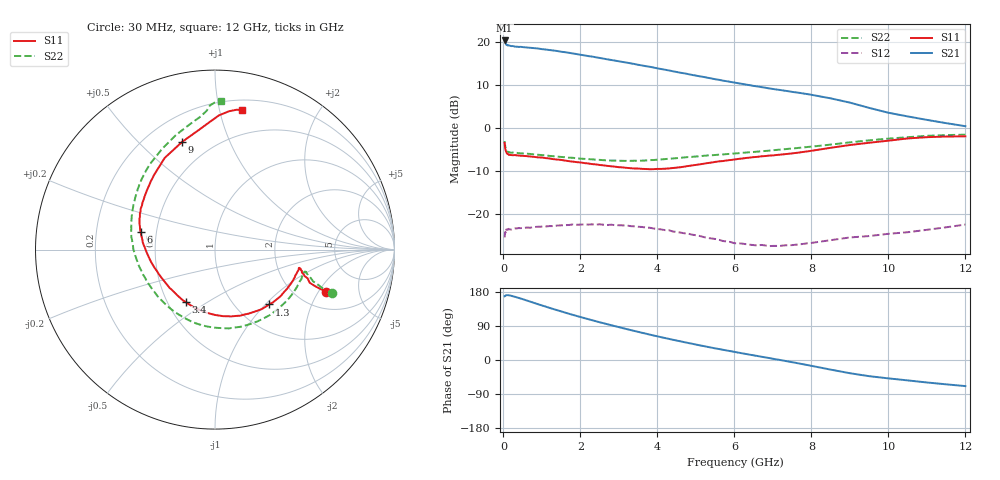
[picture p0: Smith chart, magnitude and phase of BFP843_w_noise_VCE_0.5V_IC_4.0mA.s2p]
! Infineon Technologies  Discrete & RF Semiconductors
! BFP843
! VCE =  0.5 V,  IC =  4.0 mA
! Common Emitter S-Parameters:  Aug 2013
# GHz  S  MA  R  50
!  f  S11  S21  S12  S22
! GHz  MAG  ANG  MAG  ANG  MAG  ANG  MAG  ANG
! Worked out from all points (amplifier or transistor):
!   103 points, 30 MHz to 12 GHz, reference 50 ohm
!   highest |S21| = 20.3 dB at 30 MHz (marker M1)
!   |S21| within 3 dB of that: start of sweep to 1.786 GHz
!   unconditionally stable (mu >= 1): 167.5 MHz to 480 MHz; 3.115 GHz to 12 GHz
!   at 400 MHz: K = 1.00, MAG = 20.7 dB, |S12| = -23.4 dB
!   at 3.7 GHz: K = 1.10, MAG = 16.9 dB, |S12| = -23.2 dB
!   at 12 GHz: K = 1.00, MSG = 11.4 dB, |S12| = -22.5 dB
!   lowest NFmin = 0.97 dB at 450 MHz
!   S11 on the Smith chart (normalised r, x): 30 MHz: 2.80, -2.36; 1.3 GHz: 1.41, -1.05; 3.4 GHz: 0.62, -0.41; 6 GHz: 0.41, +0.10; 9 GHz: 0.34, +0.68; 12 GHz: 0.28, +1.17
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0.03  0.6631 -20.8  10.33 168.1  0.0528 34.9  0.6975 -20.2
0.04  0.6011 -20.2  9.882 168.5  0.0587 28.3  0.6343 -19.7
0.05  0.5592 -19.3  9.622 170.2  0.0614 23.3  0.5971 -18.5
0.07  0.5207 -16.5  9.248 170.8  0.0651 18.1  0.5576 -16.6
0.13  0.49 -12.7  9.046 171.2  0.0664 8.9  0.52 -13.8
0.45  0.4702 -17.7  8.709 162.1  0.0677 3.0  0.5029 -22.8
0.7  0.4614 -25.5  8.483 153.9  0.0686 1.3  0.4938 -32.9
0.9  0.4509 -32.0  8.325 147.2  0.0704 0.3  0.4838 -41.7
1.3  0.4296 -45.3  7.891 134.3  0.0715 -2.7  0.4649 -59.1
1.7  0.4075 -59.0  7.426 122.1  0.0737 -5.5  0.4476 -76.0
2.1  0.3871 -72.8  6.933 110.6  0.0749 -9.5  0.433 -92.5
2.7  0.3591 -93.6  6.231 94.4  0.0737 -15.4  0.4158 -115.7
3.4  0.3349 -118.9  5.501 76.7  0.0711 -21.9  0.412 -141.4
4.1  0.3311 -143.8  4.803 60.1  0.0654 -27.9  0.4263 -163.6
5  0.3685 -172.2  4.032 40.8  0.056 -32.1  0.4617 175.4
6  0.4261 166.5  3.345 21.4  0.0452 -29.9  0.5003 158.0
6.1  0.4325 164.9  3.282 19.5  0.0451 -29.3  0.5039 156.2
7.3  0.4911 143.1  2.692 -2.1  0.0427 -17.2  0.561 137.6
8.5  0.5828 118.7  2.191 -25.4  0.0491 -9.6  0.6348 117.5
9  0.6278 106.9  1.955 -34.9  0.0528 -9.9  0.6746 108.8
10.5  0.7485 88.3  1.351 -53.8  0.0607 -10.8  0.7737 93.5
12  0.7921 79.2  1.039 -68.9  0.0746 -16.1  0.8282 87.5
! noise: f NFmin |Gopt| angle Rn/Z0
0.45  0.97  0.21  8  0.02
0.9  0.99  0.23  18  0.03
1.5  1.02  0.22  29  0.11
1.9  1.06  0.2  40  0.19
2.4  1.1  0.18  50  0.28
3.5  1.2  0.15  67  0.34
5.5  1.38  0.14  -172  0.4
10  2.27  0.52  -77  0.46
